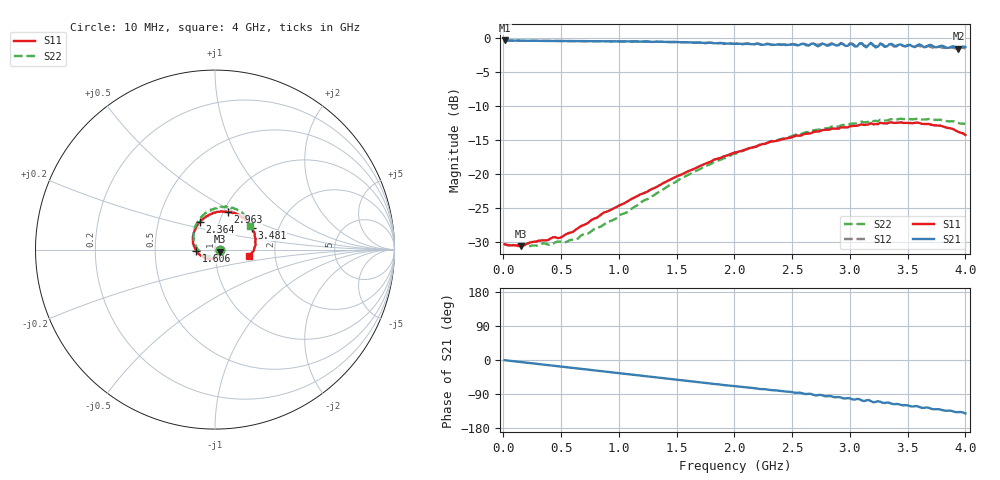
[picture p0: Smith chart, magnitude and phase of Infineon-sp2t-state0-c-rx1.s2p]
! 5/10/2016 1:40:00 PM
! C:\ANRITSUVNA\DATA\INFINEON-SP2T-STATE0-C-RX1.S2P
! CHANNEL.1
! TR.MEASUREMENT
! CORRECTED.DATA
# GHZ S RI R 50.0
! FREQ.GHZ  S11RE  S11IM  S21RE  S21IM  S12RE  S12IM  S22RE  S22IM
!; PortSelection: Port_12
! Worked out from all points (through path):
!   201 points, 10 MHz to 4 GHz, reference 50 ohm
!   highest |S21| = -0.29 dB at 10 MHz (marker M1); lowest = -1.5 dB at 3.94 GHz (marker M2)
!   group delay of S21, straight-line fit = 95.3 ps
!   lowest |S11| = -30.7 dB at 149.7 MHz (marker M3), VSWR 1.06, Z = 52.8 - j1.13 ohm
!   |S11| at or under -10 dB: start of sweep to end of sweep
!   |S22| runs from -30.7 to -11.8 dB; largest |S21 - S12| = 0.039
!   S11 on the Smith chart (normalised r, x): 10 MHz: 1.06, -0.00; 1.606 GHz: 0.81, -0.01; 2.364 GHz: 0.81, +0.26; 2.963 GHz: 1.05, +0.46; 3.481 GHz: 1.46, +0.38; 4 GHz: 1.47, -0.10
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0.01  0.0303 -0.00193  0.9667 -0.0083  0.966 -0.00812  0.0303 -0.00251
0.14965  0.0273 -0.0107  0.9588 -0.0897  0.9585 -0.0895  0.0285 -0.0104
0.6883  0.00359 -0.0416  0.8739 -0.3854  0.8734 -0.3852  -9.75e-05 -0.0357
1.34665  -0.0734 -0.0366  0.6505 -0.6876  0.6494 -0.6861  -0.0703 -0.0223
1.606  -0.1053 -0.00573  0.5274 -0.7723  0.529 -0.774  -0.099 0.00641
2.005  -0.1224 0.0766  0.3259 -0.8525  0.3322 -0.8529  -0.12 0.0746
2.3641  -0.0839 0.1539  0.1509 -0.8876  0.1498 -0.8943  -0.1007 0.1454
2.6833  -0.0128 0.2042  -0.0281 -0.9206  -0.0142 -0.9137  -0.0564 0.202
2.7232  6.88e-05 0.206  -0.0396 -0.8736  -0.0352 -0.8956  -0.0456 0.2071
2.9227  0.0582 0.2131  -0.1422 -0.9042  -0.1469 -0.9151  -0.00523 0.2286
2.9626  0.0707 0.2092  -0.1749 -0.8622  -0.1793 -0.8662  0.00794 0.2313
3.0823  0.1051 0.2046  -0.2094 -0.8905  -0.225 -0.8875  0.0312 0.2374
3.1222  0.1203 0.1959  -0.2779 -0.8372  -0.2737 -0.8454  0.0436 0.2364
3.14215  0.1256 0.1938  -0.2452 -0.8247  -0.2553 -0.8448  0.05 0.2362
3.18205  0.1376 0.193  -0.2936 -0.8813  -0.3136 -0.8659  0.0612 0.2415
3.22195  0.1471 0.1812  -0.3039 -0.8023  -0.3001 -0.818  0.0677 0.2374
3.26185  0.1586 0.1782  -0.3106 -0.8557  -0.3498 -0.8549  0.0751 0.2396
3.30175  0.1682 0.1655  -0.3491 -0.802  -0.3522 -0.7909  0.0863 0.2328
3.34165  0.1782 0.1599  -0.3516 -0.8359  -0.3758 -0.83  0.095 0.2331
3.4813  0.2047 0.122  -0.4272 -0.7658  -0.4351 -0.7572  0.1299 0.2196
3.94015  0.2035 -0.0199  -0.6201 -0.5702  -0.6186 -0.5681  0.1885 0.1451
4  0.1907 -0.0344  -0.6727 -0.5445  -0.6556 -0.5291  0.1927 0.1321
